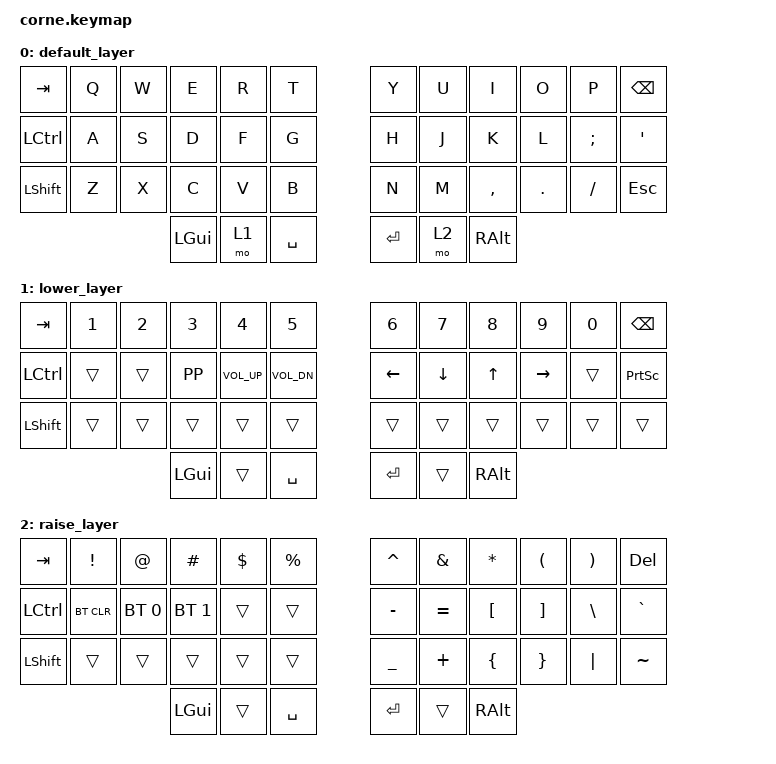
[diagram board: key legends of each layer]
/*
 * Copyright (c) 2020 The ZMK Contributors
 *
 * SPDX-License-Identifier: MIT
 */

#include <behaviors.dtsi>
#include <dt-bindings/zmk/bt.h>
#include <dt-bindings/zmk/keys.h>

/ {
    keymap {
        compatible = "zmk,keymap";

        default_layer {
            // -----------------------------------------------------------------------------------------
            // |  TAB |  Q  |  W  |  E  |  R  |  T  |   |  Y  |  U   |  I  |  O  |  P  | BKSP |
            // | CTRL |  A  |  S  |  D  |  F  |  G  |   |  H  |  J   |  K  |  L  |  ;  |  '   |
            // | SHFT |  Z  |  X  |  C  |  V  |  B  |   |  N  |  M   |  ,  |  .  |  /  | ESC  |
            //                    | GUI | LWR | SPC |   | ENT | RSE  | ALT |

            bindings = <
  &kp TAB  &kp Q  &kp W     &kp E  &kp R      &kp T      &kp Y  &kp U      &kp I    &kp O     &kp P  &kp BSPC
&kp LCTRL  &kp A  &kp S     &kp D  &kp F      &kp G      &kp H  &kp J      &kp K    &kp L  &kp SEMI   &kp SQT
&kp LSHFT  &kp Z  &kp X     &kp C  &kp V      &kp B      &kp N  &kp M  &kp COMMA  &kp DOT  &kp FSLH   &kp ESC
                         &kp LGUI  &mo 1  &kp SPACE    &kp RET  &mo 2   &kp RALT
            >;
        };

        lower_layer {
            // -----------------------------------------------------------------------------------------
            // |  TAB |  1  |  2  |  3  |  4  |  5  |   |  6  |  7  |  8  |  9  |  0  | BKSP |
            // | CTRL |     |     | PP  | VUP | VDN |   | LFT | DWN |  UP | RGT |     | PRNS |
            // | SHFT |     |     |     |     |     |   |     |     |     |     |     |      |
            //                    | GUI |     | SPC |   | ENT |     | ALT |

            bindings = <
   &kp TAB        &kp N1        &kp N2    &kp N3        &kp N4        &kp N5      &kp N6    &kp N7      &kp N8  &kp N9     &kp N0  &kp BSPC
   &kp LCTRL      &trans        &trans    &kp K_PP  &kp K_VOL_UP  &kp K_VOL_DN    &kp LEFT  &kp DOWN    &kp UP  &kp RIGHT  &trans  &kp PRINTSCREEN
   &kp LSHFT      &trans        &trans    &trans        &trans        &trans      &trans    &trans      &trans  &trans     &trans  &trans
                                        &kp LGUI        &trans     &kp SPACE     &kp RET    &trans  &kp RALT
            >;
        };

        raise_layer {
            // -----------------------------------------------------------------------------------------
            // |  TAB |  !  |  @  |  #  |  $  |  %  |   |  ^  |  &  |  *  |  (  |  )  | DWL  |
            // | CTRL |BTCLR| BT1 | BT2 |     |     |   |  -  |  =  |  [  |  ]  |  \  |  `   |
            // | SHFT |     |     |     |     |     |   |  _  |  +  |  {  |  }  | "|" |  ~   |
            //                    | GUI |     | SPC |   | ENT |     | ALT |

            bindings = <
  &kp TAB    &kp EXCL    &kp AT        &kp HASH       &kp DLLR  &kp PRCNT  &kp CARET  &kp AMPS   &kp ASTERISK  &kp LPAR  &kp RPAR    &kp DEL
  &kp LCTRL  &bt BT_CLR  &bt BT_SEL 0  &bt BT_SEL 1   &trans     &trans    &kp MINUS  &kp EQUAL      &kp LBKT  &kp RBKT  &kp BSLH  &kp GRAVE
  &kp LSHFT  &trans      &trans        &trans         &trans     &trans    &kp UNDER   &kp PLUS      &kp LBRC  &kp RBRC  &kp PIPE  &kp TILDE
                             &kp LGUI    &trans  &kp SPACE      &kp RET     &trans      &kp RALT
            >;
        };
    };
};
